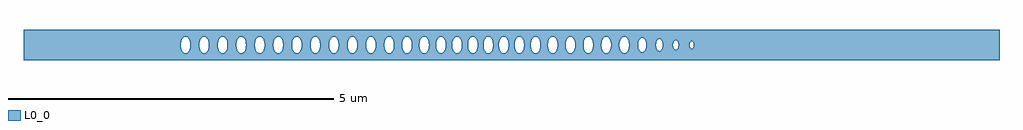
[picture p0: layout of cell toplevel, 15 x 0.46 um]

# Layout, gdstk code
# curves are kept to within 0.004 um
import gdstk
lib = gdstk.Library(unit=1e-6, precision=1e-09)
def P(c, l, *ps):  # polygons
    for p in ps: c.add(gdstk.Polygon(p, *l))
L0_0 = (0, 0)

toplevel = lib.new_cell('toplevel')
P(toplevel, L0_0, [(-4.444,-0.231),(-4.444,-0.13),(-4.471,-0.118),(-4.49,-0.095),(-4.506,-0.056),(-4.513,-0.008),(-4.511,0.032),(-4.499,0.077),(-4.471,0.118),(-4.444,0.13),(-4.444,0.231),(-7.5,0.231),(-7.5,-0.008),(-5.083,-0.008),(-5.078,0.048),(-5.06,0.095),(-5.032,0.124),(-5.013,0.13),(-4.986,0.124),(-4.958,0.095),(-4.938,0.04),(-4.935,-0.008),(-4.798,-0.008),(-4.796,0.032),(-4.784,0.077),(-4.76,0.114),(-4.729,0.13),(-4.705,0.126),(-4.68,0.106),(-4.661,0.07),(-4.65,0.016),(-4.653,-0.04),(-4.664,-0.077),(-4.692,-0.118),(-4.719,-0.13),(-4.747,-0.124),(-4.775,-0.095),(-4.791,-0.056),(-4.798,-0.008),(-4.935,-0.008),(-4.942,-0.056),(-4.958,-0.095),(-4.977,-0.118),(-5.004,-0.13),(-5.032,-0.124),(-5.06,-0.095),(-5.076,-0.056),(-5.083,-0.008),(-7.5,-0.008),(-7.5,-0.231)],
  [(-3.651,-0.056),(-3.658,0.016),(-3.647,0.07),(-3.647,0.231),(-4.444,0.231),(-4.444,0.13),(-4.416,0.124),(-4.388,0.095),(-4.37,0.048),(-4.365,-0.016),(-4.228,-0.016),(-4.225,0.04),(-4.214,0.077),(-4.186,0.118),(-4.159,0.13),(-4.131,0.124),(-4.103,0.095),(-4.085,0.048),(-4.081,-0.016),(-3.943,-0.016),(-3.94,0.04),(-3.929,0.077),(-3.901,0.118),(-3.874,0.13),(-3.846,0.124),(-3.818,0.095),(-3.802,0.056),(-3.795,0.008),(-3.797,-0.032),(-3.809,-0.077),(-3.833,-0.114),(-3.864,-0.13),(-3.888,-0.126),(-3.913,-0.106),(-3.932,-0.07),(-3.943,-0.016),(-4.081,-0.016),(-4.087,-0.056),(-4.103,-0.095),(-4.122,-0.118),(-4.149,-0.13),(-4.177,-0.124),(-4.198,-0.106),(-4.217,-0.07),(-4.228,-0.016),(-4.365,-0.016),(-4.376,-0.07),(-4.395,-0.106),(-4.416,-0.124),(-4.444,-0.13),(-4.444,-0.231),(-3.647,-0.231)],
  [(-3.647,0.231),(-3.647,0.07),(-3.628,0.106),(-3.607,0.124),(-3.589,0.13),(-3.561,0.124),(-3.544,0.11),(-3.524,0.077),(-3.512,0.032),(-3.511,-0.016),(-3.373,-0.016),(-3.37,0.04),(-3.359,0.077),(-3.331,0.118),(-3.304,0.13),(-3.276,0.124),(-3.252,0.101),(-3.234,0.063),(-3.225,0.008),(-3.23,-0.048),(-3.245,-0.089),(-3.268,-0.118),(-3.295,-0.13),(-3.318,-0.126),(-3.343,-0.106),(-3.362,-0.07),(-3.373,-0.016),(-3.511,-0.016),(-3.517,-0.056),(-3.533,-0.095),(-3.548,-0.114),(-3.57,-0.128),(-3.589,-0.13),(-3.616,-0.118),(-3.647,-0.071),(-3.647,-0.231),(-2.945,-0.231),(-2.945,-0.048),(-2.971,-0.106),(-3,-0.128),(-3.024,-0.129),(-3.042,-0.121),(-3.062,-0.101),(-3.077,-0.07),(-3.088,-0.016),(-3.085,0.04),(-3.077,0.07),(-3.062,0.101),(-3.033,0.126),(-3.01,0.13),(-2.983,0.118),(-2.96,0.089),(-2.945,0.048),(-2.945,0.231)],
  [(-2.234,0.016),(-2.228,0.056),(-2.204,0.106),(-2.17,0.129),(-2.151,0.129),(-2.133,0.121),(-2.133,0.231),(-2.945,0.231),(-2.941,-0.016),(-2.803,-0.016),(-2.8,0.04),(-2.789,0.077),(-2.761,0.118),(-2.734,0.13),(-2.706,0.124),(-2.682,0.101),(-2.662,0.056),(-2.655,0),(-2.519,0),(-2.515,0.04),(-2.502,0.083),(-2.476,0.118),(-2.449,0.13),(-2.422,0.124),(-2.397,0.101),(-2.377,0.056),(-2.37,0.008),(-2.377,-0.056),(-2.39,-0.089),(-2.413,-0.118),(-2.44,-0.13),(-2.467,-0.124),(-2.492,-0.101),(-2.511,-0.056),(-2.519,0),(-2.655,0),(-2.66,-0.048),(-2.675,-0.089),(-2.698,-0.118),(-2.725,-0.13),(-2.752,-0.124),(-2.777,-0.101),(-2.792,-0.07),(-2.803,-0.016),(-2.941,-0.016),(-2.945,-0.231),(-2.133,-0.231),(-2.133,-0.121),(-2.156,-0.13),(-2.174,-0.128),(-2.208,-0.101),(-2.228,-0.056)],
  [(-2.092,-0.048),(-2.113,-0.101),(-2.133,-0.121),(-2.133,-0.231),(-1.31,-0.231),(-1.31,-0.118),(-1.337,-0.13),(-1.373,-0.118),(-1.404,-0.07),(-1.415,-0.016),(-1.412,0.04),(-1.385,0.106),(-1.369,0.121),(-1.346,0.13),(-1.327,0.128),(-1.31,0.118),(-1.31,0.231),(-2.133,0.231),(-2.133,0.121),(-2.113,0.101),(-2.093,0.056),(-2.087,-0.016),(-1.954,-0.016),(-1.951,0.04),(-1.94,0.077),(-1.912,0.118),(-1.885,0.13),(-1.857,0.124),(-1.826,0.089),(-1.811,0.048),(-1.806,-0.008),(-1.681,-0.008),(-1.676,0.048),(-1.661,0.089),(-1.638,0.118),(-1.611,0.13),(-1.588,0.126),(-1.563,0.106),(-1.536,0.04),(-1.533,-0.016),(-1.544,-0.07),(-1.563,-0.106),(-1.579,-0.121),(-1.602,-0.13),(-1.63,-0.124),(-1.654,-0.101),(-1.672,-0.063),(-1.681,-0.008),(-1.806,-0.008),(-1.811,-0.048),(-1.826,-0.089),(-1.849,-0.118),(-1.876,-0.13),(-1.903,-0.124),(-1.928,-0.101),(-1.943,-0.07),(-1.954,-0.016),(-2.087,-0.016)],
  [(-1.268,-0.016),(-1.281,-0.077),(-1.31,-0.118),(-1.31,-0.231),(-0.661,-0.231),(-0.661,-0.056),(-0.668,-0.016),(-0.661,0.056),(-0.661,0.231),(-1.31,0.231),(-1.31,0.118),(-1.281,0.077),(-1.267,0),(-1.159,0),(-1.152,0.056),(-1.132,0.101),(-1.107,0.124),(-1.08,0.13),(-1.053,0.118),(-1.027,0.083),(-1.014,0.04),(-1.011,-0.016),(-0.91,-0.016),(-0.907,0.04),(-0.88,0.106),(-0.859,0.124),(-0.841,0.13),(-0.804,0.118),(-0.773,0.07),(-0.763,0.024),(-0.763,-0.024),(-0.773,-0.07),(-0.785,-0.095),(-0.804,-0.118),(-0.822,-0.128),(-0.85,-0.128),(-0.88,-0.106),(-0.899,-0.07),(-0.91,-0.016),(-1.011,-0.016),(-1.017,-0.056),(-1.037,-0.101),(-1.057,-0.121),(-1.08,-0.13),(-1.107,-0.124),(-1.132,-0.101),(-1.152,-0.056),(-1.159,0),(-1.267,0)],
  [(-0.188,0.048),(-0.166,0.101),(-0.142,0.124),(-0.105,0.128),(-0.075,0.106),(-0.075,0.231),(-0.661,0.231),(-0.661,0.056),(-0.645,0.095),(-0.626,0.118),(-0.599,0.13),(-0.58,0.128),(-0.554,0.11),(-0.534,0.077),(-0.522,0.032),(-0.52,-0.008),(-0.43,-0.008),(-0.425,0.048),(-0.407,0.095),(-0.379,0.124),(-0.351,0.13),(-0.324,0.118),(-0.305,0.095),(-0.293,0.07),(-0.282,0.016),(-0.285,-0.04),(-0.296,-0.077),(-0.324,-0.118),(-0.351,-0.13),(-0.379,-0.124),(-0.407,-0.095),(-0.423,-0.056),(-0.43,-0.008),(-0.52,-0.008),(-0.527,-0.056),(-0.543,-0.095),(-0.563,-0.118),(-0.589,-0.13),(-0.613,-0.126),(-0.638,-0.106),(-0.661,-0.057),(-0.661,-0.231),(-0.075,-0.231),(-0.075,-0.106),(-0.096,-0.124),(-0.123,-0.13),(-0.142,-0.124),(-0.166,-0.101),(-0.188,-0.048),(-0.193,-0.008)],
  [(-0.048,-0.04),(-0.075,-0.106),(-0.075,-0.231),(0.638,-0.231),(0.638,-0.13),(0.615,-0.126),(0.59,-0.106),(0.571,-0.07),(0.56,-0.016),(0.563,0.04),(0.583,0.095),(0.606,0.121),(0.638,0.13),(0.638,0.231),(-0.075,0.231),(-0.075,0.106),(-0.052,0.056),(-0.045,0),(0.047,0),(0.051,0.04),(0.064,0.083),(0.09,0.118),(0.117,0.13),(0.149,0.121),(0.176,0.089),(0.189,0.056),(0.196,-0.008),(0.297,-0.008),(0.302,0.048),(0.32,0.095),(0.348,0.124),(0.367,0.13),(0.39,0.126),(0.415,0.106),(0.434,0.07),(0.445,0.016),(0.442,-0.04),(0.431,-0.077),(0.403,-0.118),(0.376,-0.13),(0.348,-0.124),(0.32,-0.095),(0.304,-0.056),(0.297,-0.008),(0.196,-0.008),(0.189,-0.056),(0.176,-0.089),(0.153,-0.118),(0.126,-0.13),(0.099,-0.124),(0.074,-0.101),(0.055,-0.056),(0.047,0),(-0.045,0)],
  [(1.385,0.04),(1.408,0.101),(1.433,0.124),(1.433,0.231),(0.638,0.231),(0.638,0.13),(0.665,0.118),(0.694,0.077),(0.706,0.032),(0.707,-0.016),(0.832,-0.016),(0.835,0.04),(0.846,0.077),(0.874,0.118),(0.901,0.13),(0.929,0.124),(0.96,0.089),(0.978,0.032),(0.979,-0.016),(1.107,-0.016),(1.11,0.04),(1.121,0.077),(1.149,0.118),(1.176,0.13),(1.204,0.124),(1.228,0.101),(1.246,0.063),(1.255,0.008),(1.25,-0.048),(1.235,-0.089),(1.212,-0.118),(1.185,-0.13),(1.158,-0.124),(1.133,-0.101),(1.118,-0.07),(1.107,-0.016),(0.979,-0.016),(0.971,-0.063),(0.953,-0.101),(0.929,-0.124),(0.91,-0.13),(0.887,-0.126),(0.862,-0.106),(0.843,-0.07),(0.832,-0.016),(0.707,-0.016),(0.699,-0.063),(0.681,-0.101),(0.657,-0.124),(0.638,-0.13),(0.638,-0.231),(1.433,-0.231),(1.433,-0.124),(1.408,-0.101),(1.393,-0.07),(1.382,-0.016)],
  [(1.433,0.231),(1.433,0.124),(1.451,0.13),(1.47,0.128),(1.503,0.101),(1.525,0.048),(1.53,-0.008),(1.659,-0.008),(1.666,0.056),(1.679,0.089),(1.702,0.118),(1.729,0.13),(1.756,0.124),(1.781,0.101),(1.804,0.04),(1.807,-0.007),(1.945,-0.007),(1.948,0.035),(1.962,0.077),(1.985,0.104),(2.005,0.112),(2.025,0.109),(2.046,0.091),(2.065,0.054),(2.072,0.014),(2.065,-0.054),(2.046,-0.091),(2.025,-0.109),(1.993,-0.109),(1.971,-0.091),(1.951,-0.048),(1.945,-0.007),(1.807,-0.007),(1.8,-0.056),(1.781,-0.101),(1.761,-0.121),(1.738,-0.13),(1.711,-0.124),(1.686,-0.101),(1.668,-0.063),(1.659,-0.008),(1.53,-0.008),(1.521,-0.063),(1.499,-0.106),(1.47,-0.128),(1.451,-0.13),(1.433,-0.124),(1.433,-0.231),(2.219,-0.231),(2.219,0.231)],
  [(2.22,0.018),(2.241,0.076),(2.259,0.091),(2.276,0.094),(2.295,0.085),(2.314,0.06),(2.325,0.018),(2.325,-0.009),(2.482,-0.009),(2.484,0.023),(2.494,0.052),(2.512,0.072),(2.53,0.075),(2.548,0.064),(2.56,0.044),(2.567,-0.011),(2.738,-0.011),(2.746,0.039),(2.766,0.057),(2.784,0.052),(2.794,0.039),(2.802,-0.011),(2.791,-0.044),(2.774,-0.057),(2.749,-0.044),(2.738,-0.011),(2.567,-0.011),(2.56,-0.044),(2.548,-0.064),(2.52,-0.075),(2.494,-0.052),(2.482,-0.009),(2.325,-0.009),(2.321,-0.04),(2.307,-0.072),(2.286,-0.091),(2.269,-0.094),(2.25,-0.085),(2.236,-0.068),(2.224,-0.04),(2.219,-0.006),(2.219,-0.231),(7.5,-0.231),(7.5,0.231),(2.219,0.231)])

lib.write_gds('toplevel.gds')
